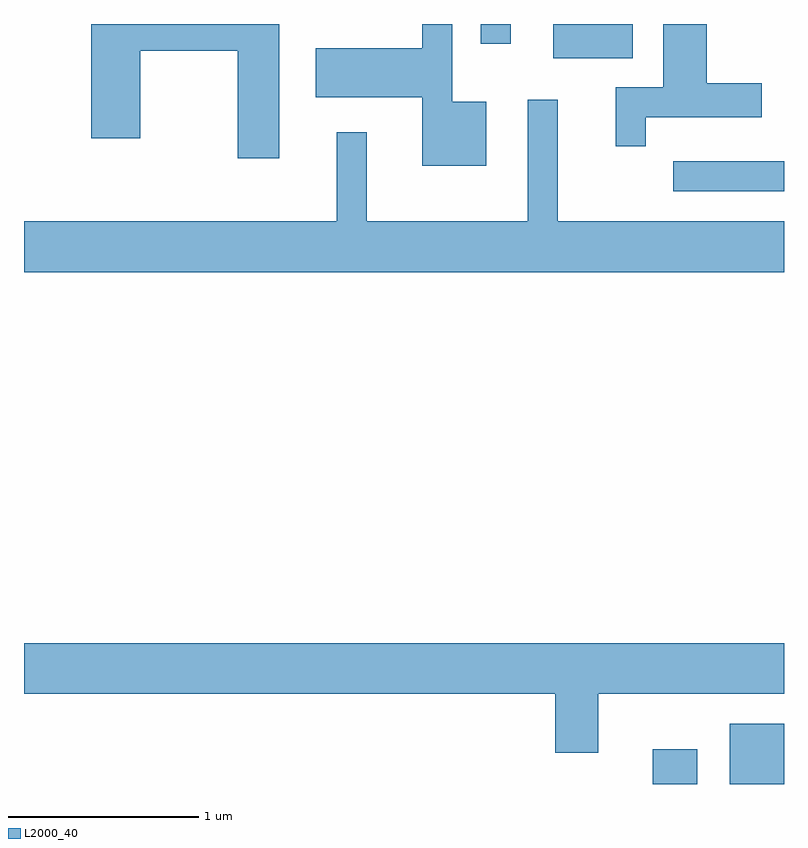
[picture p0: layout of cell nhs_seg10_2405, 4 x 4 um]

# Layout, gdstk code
import gdstk
lib = gdstk.Library(unit=1e-6, precision=1e-09)
def R(c, l, rs):  # rectangles x0, y0, x1, y1
    for r in rs: c.add(gdstk.rectangle(r[:2], r[2:], *l))
def P(c, l, *ps):  # polygons
    for p in ps: c.add(gdstk.Polygon(p, *l))
L2000_40 = (2000, 40)

nhs_seg10_2405 = lib.new_cell('nhs_seg10_2405')
R(nhs_seg10_2405, L2000_40, [(258.921,2144.522,259.154,2144.704), (259.326,2144.522,259.611,2144.839), (259.028,2147.641,259.611,2147.799), (258.396,2148.341,258.814,2148.522), (258.016,2148.418,258.174,2148.522)])
P(nhs_seg10_2405, L2000_40, [(258.884,2148.031),(259.494,2148.031),(259.494,2148.209),(259.204,2148.209),(259.204,2148.522),(258.976,2148.522),(258.976,2148.189),(258.726,2148.189),(258.726,2147.878),(258.884,2147.878)],
  [(258.044,2148.114),(257.864,2148.114),(257.864,2148.522),(257.706,2148.522),(257.706,2148.394),(257.146,2148.394),(257.146,2148.136),(257.706,2148.136),(257.706,2147.776),(258.044,2147.776)],
  [(256.954,2148.522),(255.966,2148.522),(255.966,2147.921),(256.224,2147.921),(256.224,2148.381),(256.736,2148.381),(256.736,2147.816),(256.954,2147.816)],
  [(259.611,2147.484),(258.419,2147.484),(258.419,2148.123),(258.261,2148.123),(258.261,2147.484),(257.414,2147.484),(257.414,2147.953),(257.256,2147.953),(257.256,2147.484),(255.611,2147.484),(255.611,2147.216),(259.611,2147.216)],
  [(258.634,2144.996),(259.611,2144.996),(259.611,2145.264),(255.611,2145.264),(255.611,2144.996),(258.406,2144.996),(258.406,2144.686),(258.634,2144.686)])

lib.write_gds('nhs_seg10_2405.gds')
